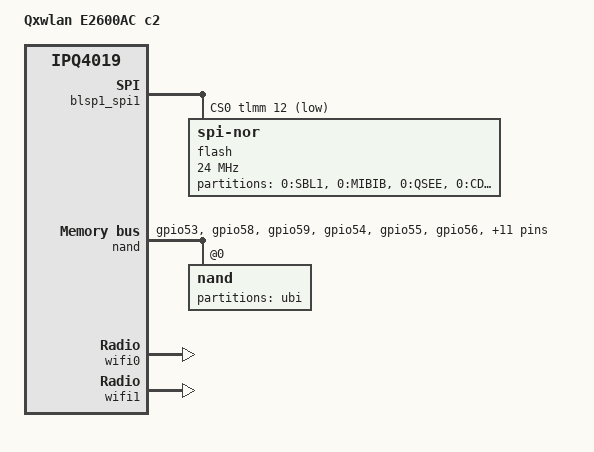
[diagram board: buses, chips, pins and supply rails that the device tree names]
/* SPDX-License-Identifier: GPL-2.0-or-later OR MIT
 *
 * Copyright (c) 2018 Peng Zhang <sd20@qxwlan.com>
 *
 */

#include "qcom-ipq4019-e2600ac.dtsi"
#include <dt-bindings/gpio/gpio.h>
#include <dt-bindings/input/input.h>

/ {
	model = "Qxwlan E2600AC c2";
	compatible = "qxwlan,e2600ac-c2";
};

&blsp1_spi1 {
	pinctrl-0 = <&spi_0_pins>;
	pinctrl-names = "default";
	status = "okay";
	cs-gpios = <&tlmm 12 GPIO_ACTIVE_LOW>;

	flash@0 {
		reg = <0>;
		compatible = "jedec,spi-nor";
		spi-max-frequency = <24000000>;

		partitions {
			compatible = "fixed-partitions";
			#address-cells = <1>;
			#size-cells = <1>;

			partition@0 {
				label = "0:SBL1";
				reg = <0x0 0x40000>;
				read-only;
			};
			partition@40000 {
				label = "0:MIBIB";
				reg = <0x40000 0x20000>;
				read-only;
			};
			partition@60000 {
				label = "0:QSEE";
				reg = <0x60000 0x60000>;
				read-only;
			};
			partition@c0000 {
				label = "0:CDT";
				reg = <0xc0000 0x10000>;
				read-only;
			};
			partition@d0000 {
				label = "0:DDRPARAMS";
				reg = <0xd0000 0x10000>;
				read-only;
			};
			partition@e0000 {
				label = "0:APPSBLENV";
				reg = <0xe0000 0x10000>;
				read-only;
			};
			partition@f0000 {
				label = "0:APPSBL";
				reg = <0xf0000 0x80000>;
				read-only;
			};
			partition@170000 {
				label = "0:ART";
				reg = <0x170000 0x10000>;
				read-only;
				compatible = "nvmem-cells";
				#address-cells = <1>;
				#size-cells = <1>;

				precal_art_1000: precal@1000 {
					reg = <0x1000 0x2f20>;
				};

				precal_art_5000: precal@5000 {
					reg = <0x5000 0x2f20>;
				};
			};
		};
	};
};

&nand {
	pinctrl-0 = <&nand_pins>;
	pinctrl-names = "default";
	status = "okay";

	nand@0 {
		partitions {
			compatible = "fixed-partitions";
			#address-cells = <1>;
			#size-cells = <1>;

			partition@0 {
				label = "ubi";
				reg = <0x00000000 0x04000000>;
			};
		};
	};
};

&tlmm {
	nand_pins: nand-pins {

		pullups {
			pins = "gpio53", "gpio58", "gpio59";
			function = "qpic";
			bias-pull-up;
		};

		pulldowns {
			pins = "gpio54", "gpio55", "gpio56",
				"gpio57", "gpio60", "gpio61",
				"gpio62", "gpio63", "gpio64",
				"gpio65", "gpio66", "gpio67",
				"gpio68", "gpio69";
			function = "qpic";
			bias-pull-down;
		};
	};
};

&wifi0 {
	status = "okay";
	nvmem-cell-names = "pre-calibration";
	nvmem-cells = <&precal_art_1000>;
	qcom,ath10k-calibration-variant = "Qxwlan-E2600AC-C2";
};

&wifi1 {
	status = "okay";
	nvmem-cell-names = "pre-calibration";
	nvmem-cells = <&precal_art_5000>;
	qcom,ath10k-calibration-variant = "Qxwlan-E2600AC-C2";
};
